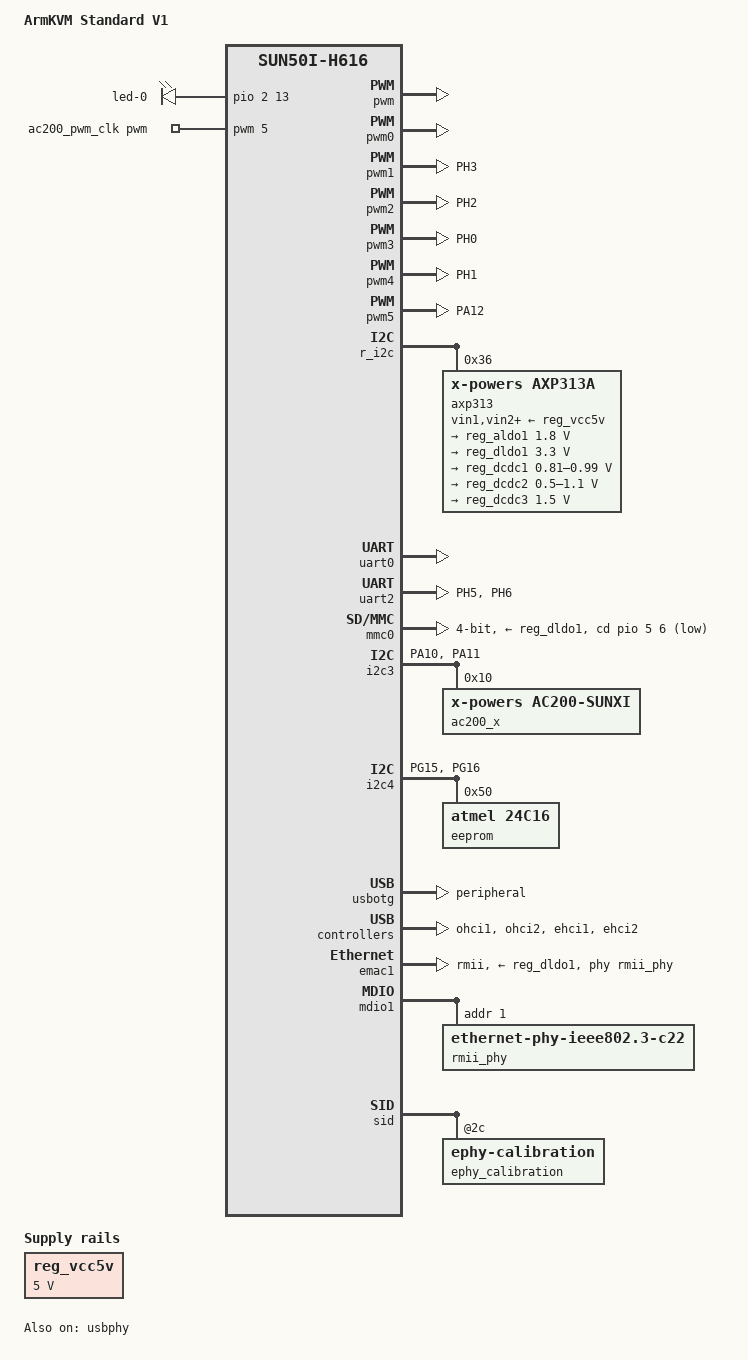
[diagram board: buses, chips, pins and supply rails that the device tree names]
// SPDX-License-Identifier: (GPL-2.0+ OR MIT)
/*
* Copyright (C) 2024 Arm Ltd.
*/

/dts-v1/;

#include "sun50i-h616.dtsi"
#include "sun50i-h616-cpu-opp.dtsi"

#include <dt-bindings/gpio/gpio.h>
#include <dt-bindings/interrupt-controller/arm-gic.h>
#include <dt-bindings/leds/common.h>

/ {
	model = "ArmKVM Standard V1";
	compatible = "nekocloud,armkvm-standard-v1", "allwinner,sun50i-h616";
	
	aliases {
		serial0 = &uart0;
		serial2 = &uart2;
		ethernet0 = &emac1;
	};
	
	chosen {
		stdout-path = "serial0:115200n8";
	};
	
	leds {
		compatible = "gpio-leds";
		
		led-0 {
			gpios = <&pio 2 13 GPIO_ACTIVE_HIGH>; /* PC13 */
			linux,default-trigger = "heartbeat";
		};
	};
	
	reg_vcc5v: regulator-5v {
		compatible = "regulator-fixed";
		regulator-name = "vcc-5v";
		regulator-min-microvolt = <5000000>;
		regulator-max-microvolt = <5000000>;
		regulator-always-on;
	};
	
	ac200_pwm_clk: ac200_clk {
		compatible = "pwm-clock";
		#clock-cells = <0>;
		pwms = <&pwm 5 500 0>;
		clock-frequency = <2000000>;
		status = "okay";
	};
	
	soc {
		pwm: pwm@300a000 {
			compatible = "allwinner,sun50i-h616-pwm";
			reg = <0x0300a000 0x400>;
			clocks = <&osc24M>, <&ccu CLK_BUS_PWM>;
			clock-names = "mod", "bus";
			resets = <&ccu RST_BUS_PWM>;
			pwm-number = <6>;
			pwm-base = <0x0>;
			sunxi-pwms = <&pwm0>, <&pwm1>, <&pwm2>, <&pwm3>, <&pwm4>, <&pwm5>;
			#pwm-cells = <3>;
			status = "okay";
		};
		
		pwm0: pwm0@0300a000 {
			compatible = "allwinner,sunxi-pwm0";
		};
		
		pwm1: pwm1@0300a000 {
			compatible = "allwinner,sunxi-pwm1";
			pinctrl-names = "default";
			pinctrl-0 = <&pwm1_ph_pin>;
		};
		
		pwm2: pwm2@0300a000 {
			compatible = "allwinner,sunxi-pwm2";
			pinctrl-names = "default";
			pinctrl-0 = <&pwm2_ph_pin>;
		};
		
		pwm3: pwm3@0300a000 {
			compatible = "allwinner,sunxi-pwm3";
			pinctrl-names = "default";
			pinctrl-0 = <&pwm3_ph_pin>;
		};
		
		pwm4: pwm4@0300a000 {
			compatible = "allwinner,sunxi-pwm4";
			pinctrl-names = "default";
			pinctrl-0 = <&pwm4_ph_pin>;
		};
		
		pwm5: pwm5@0300a000 {
			compatible = "allwinner,sunxi-pwm5";
			pinctrl-names = "default";
			pinctrl-0 = <&pwm5_pin>;
			clk_bypass_output = <0x1>;
			status = "okay";
		};
	};
};

&cpu0 {
	cpu-supply = <&reg_dcdc2>;
	status = "okay";
};

&r_i2c {
	status = "okay";
	
	axp313: pmic@36 {
		compatible = "x-powers,axp313a";
		reg = <0x36>;
		#interrupt-cells = <1>;
		interrupt-controller;
		interrupt-parent = <&pio>;
		
		vin1-supply = <&reg_vcc5v>;
		vin2-supply = <&reg_vcc5v>;
		vin3-supply = <&reg_vcc5v>;
		
		regulators {
			reg_aldo1: aldo1 {
				regulator-always-on;
				regulator-min-microvolt = <1800000>;
				regulator-max-microvolt = <1800000>;
				regulator-name = "vcc1v8";
			};
			
			reg_dldo1: dldo1 {
				regulator-always-on;
				regulator-min-microvolt = <3300000>;
				regulator-max-microvolt = <3300000>;
				regulator-name = "vcc3v3";
			};
			
			reg_dcdc1: dcdc1 {
				regulator-always-on;
				regulator-min-microvolt = <810000>;
				regulator-max-microvolt = <990000>;
				regulator-step-delay-us = <25>;
				regulator-final-delay-us = <50>;
				regulator-name = "vdd-gpu-sys";
			};
			
			reg_dcdc2: dcdc2 {
				regulator-always-on;
				regulator-min-microvolt = <500000>;
				regulator-max-microvolt = <1100000>;
				regulator-step-delay-us = <25>;
				regulator-final-delay-us = <50>;
				regulator-ramp-delay = <200>;
				regulator-name = "vdd-cpu";
			};
			
			reg_dcdc3: dcdc3 {
				regulator-always-on;
				regulator-min-microvolt = <1500000>;
				regulator-max-microvolt = <1500000>;
				regulator-step-delay-us = <25>;
				regulator-final-delay-us = <50>;
				regulator-name = "vdd-dram";
			};
		};
	};
};

&pio {
	vcc-pc-supply = <&reg_dldo1>;
	vcc-pf-supply = <&reg_dldo1>;
	vcc-pg-supply = <&reg_aldo1>;
	vcc-ph-supply = <&reg_dldo1>;
	vcc-pi-supply = <&reg_dldo1>;
	
	/omit-if-no-ref/
	i2c0_pi_pins: i2c0-pi-pins {
		pins = "PI5", "PI6";
		function = "i2c0";
	};
	
	/omit-if-no-ref/
	i2c1_pi_pins: i2c1-pi-pins {
		pins = "PI7", "PI8";
		function = "i2c1";
	};
	
	/omit-if-no-ref/
	i2c2_pi_pins: i2c2-pi-pins {
		pins = "PI9", "PI10";
		function = "i2c2";
	};
	
	i2c3_pa_pins: i2c3-pa-pins {
		pins = "PA10", "PA11";
		function = "i2c3";
		bias-pull-up;
	};
	
	/omit-if-no-ref/
	i2c4_pg_pins: i2c4-pg-pins {
		pins = "PG15", "PG16";
		function = "i2c4";
	};
	
	/omit-if-no-ref/
	i2c4_ph_pins: i2c4-ph-pins {
		pins = "PH6", "PH7";
		function = "i2c4";
	};
	
	/omit-if-no-ref/
	uart2_ph_pins: uart2-ph-pins {
		pins = "PH5", "PH6";
		function = "uart2";
	};
	
	/omit-if-no-ref/
	uart2_pi_pins: uart2-pi-pins {
		pins = "PI5", "PI6";
		function = "uart2";
	};
	
	/omit-if-no-ref/
	uart3_pi_pins: uart3-pi-pins {
		pins = "PI9", "PI10";
		function = "uart3";
	};
	
	/omit-if-no-ref/
	uart4_pi_pins: uart4-pi-pins {
		pins = "PI13", "PI14";
		function = "uart4";
	};
	
	/omit-if-no-ref/
	spi1_cs1_pin: spi1-cs1-pin {
		pins = "PH9";
		function = "spi1";
	};
	
	/omit-if-no-ref/
	pwm1_ph_pin: pwm1-ph-pin {
		pins = "PH3";
		function = "pwm1";
	};
	
	/omit-if-no-ref/
	pwm2_ph_pin: pwm2-ph-pin {
		pins = "PH2";
		function = "pwm2";
	};
	
	/omit-if-no-ref/
	pwm3_ph_pin: pwm3-ph-pin {
		pins = "PH0";
		function = "pwm3";
	};
	
	/omit-if-no-ref/
	pwm4_ph_pin: pwm4-ph-pin {
		pins = "PH1";
		function = "pwm4";
	};
	
	/omit-if-no-ref/
	pwm5_pin: pwm5-pin {
		pins = "PA12";
		function = "pwm5";
	};
};

&uart0 {
	pinctrl-names = "default";
	pinctrl-0 = <&uart0_ph_pins>;
	status = "okay";
};

&uart2 {
	pinctrl-names = "default";
	pinctrl-0 = <&uart2_ph_pins>;
	status = "okay";
};

&mmc0 {
	vmmc-supply = <&reg_dldo1>;
	cd-gpios = <&pio 5 6 GPIO_ACTIVE_LOW>; /* PF6 */
	bus-width = <4>;
	status = "okay";
};

&i2c3 {
	pinctrl-names = "default";
	pinctrl-0 = <&i2c3_pa_pins>;
	status = "okay";
	
	ac200_x: mfd@10 {
		compatible = "x-powers,ac200-sunxi";
		reg = <0x10>;
		clocks = <&ac200_pwm_clk>;
		nvmem-cells = <&ephy_calibration>;
		nvmem-cell-names = "calibration";
		
		ac200_ephy: phy {
			compatible = "x-powers,ac200-ephy-sunxi";
			status = "okay";
		};
	};
};

&i2c4 {
	pinctrl-names = "default";
	pinctrl-0 = <&i2c4_pg_pins>;
	status = "okay";
	
	eeprom: eeprom@50 {
		compatible = "atmel,24c16";
		reg = <0x50>;
		pagesize = <16>;
		sec-data;
		status = "okay";
	};
};

&usbotg {
	dr_mode = "peripheral";
	status = "okay";
};

&usbphy {
	status = "okay";
};

&ohci1 {
	status = "okay";
};

&ohci2 {
	status = "okay";
};

&ehci1 {
	status = "okay";
};

&ehci2 {
	status = "okay";
};

&emac1 {
	phy-mode = "rmii";
	phy-handle = <&rmii_phy>;
	phy-supply = <&reg_dldo1>;
	allwinner,rx-delay-ps = <3100>;
	allwinner,tx-delay-ps = <700>;
	status = "okay";
};

&mdio1 {
	rmii_phy: ethernet-phy@1 {
		compatible = "ethernet-phy-ieee802.3-c22";
		reg = <1>;
	};
};

&sid {
	ephy_calibration: ephy-calibration@2c {
		reg = <0x2c 0x2>;
	};
};
